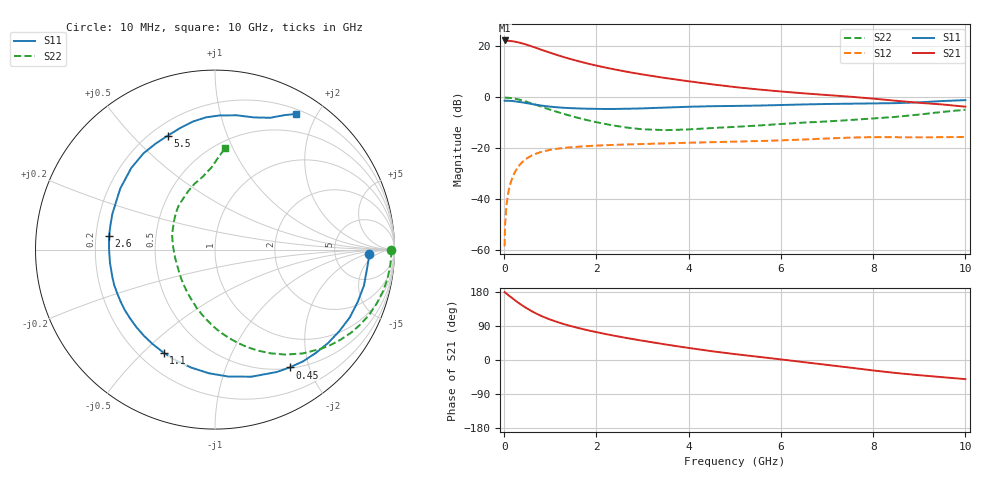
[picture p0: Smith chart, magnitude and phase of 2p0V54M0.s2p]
! (c) 2009  Infineon Technologies AG, Munich
! Infineon Technologies  Discrete & RF Semiconductors
! BFP420
! VCE =  0.5 V,  IC =  4.0 mA
! Common Emitter S-Parameters:  Nov 2009
# GHz  S  MA  R  50
!  f  S11  S21  S12  S22
! GHz  MAG  ANG  MAG  ANG  MAG  ANG  MAG  ANG
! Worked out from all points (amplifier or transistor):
!   46 points, 10 MHz to 10 GHz, reference 50 ohm
!   highest |S21| = 22.3 dB at 10 MHz (marker M1)
!   |S21| within 3 dB of that: start of sweep to 707 MHz
!   unconditionally stable (mu >= 1): 3.206 GHz to end of sweep
!   at 300 MHz: K = 0.09, MSG = 24.5 dB, |S12| = -27.4 dB
!   at 1.7 GHz: K = 0.56, MSG = 16.5 dB, |S12| = -19.3 dB
!   at 10 GHz: K = 1.11, MAG = 3.9 dB, |S12| = -15.6 dB
!   lowest NFmin = 0.61 dB at 900 MHz
!   S11 on the Smith chart (normalised r, x): 10 MHz: 12, -2; 450 MHz: 0.51, -1.70; 1.1 GHz: 0.30, -0.58; 2.6 GHz: 0.25, +0.06; 5.5 GHz: 0.26, +0.63; 10 GHz: 0.26, +1.73
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0.01  0.856 -1.6  13.02 179.3  0.0012 82.1  0.979 -0.2
0.02  0.8588 -2.7  12.73 178.4  0.0032 91.5  0.9823 -1.8
0.05  0.8543 -6.5  12.77 175.2  0.0076 87.6  0.9809 -4.7
0.1  0.8538 -13.6  12.79 170.4  0.0152 82.8  0.975 -9.4
0.15  0.8469 -20.2  12.66 165.6  0.0224 79.2  0.9644 -14.0
0.25  0.8284 -33.3  12.21 156.2  0.0363 71.8  0.9323 -23.0
0.35  0.8043 -45.8  11.67 147.6  0.0487 65.0  0.8878 -31.5
0.45  0.7775 -57.6  11.01 139.5  0.0593 58.9  0.8373 -39.2
0.6  0.7366 -74.0  9.954 128.6  0.0722 51.1  0.7575 -49.8
0.8  0.6896 -92.9  8.605 116.6  0.0845 42.7  0.6567 -61.7
0.9  0.6706 -101.4  8.014 111.4  0.089 39.3  0.6119 -66.9
1.1  0.6418 -116.5  6.973 102.4  0.0963 33.6  0.5339 -76.4
1.4  0.615 -135.6  5.757 91.0  0.1036 27.2  0.4425 -89.0
1.7  0.6003 -151.3  4.868 81.7  0.1087 22.5  0.375 -100.2
2.2  0.5899 -172.7  3.824 68.5  0.1148 16.7  0.2986 -118.0
2.6  0.5949 172.8  3.245 59.2  0.1183 12.9  0.2594 -133.2
3.5  0.6281 147.2  2.384 41.0  0.1246 6.7  0.2268 -167.3
4.5  0.6683 126.6  1.798 23.2  0.1315 1.0  0.2491 163.4
5.5  0.6872 112.6  1.427 8.6  0.1383 -3.3  0.2787 144.9
7  0.7386 93.9  1.106 -12.9  0.1553 -11.2  0.3354 121.9
8.5  0.7677 73.6  0.853 -34.4  0.1645 -23.9  0.4135 99.2
10  0.8796 59.2  0.654 -50.5  0.1666 -31.6  0.5689 84.2
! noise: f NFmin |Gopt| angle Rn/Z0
0.9  0.61  0.27  32  0.16
1.8  1.03  0.14  83  0.13
2.4  1.11  0.17  110  0.14
3  1.23  0.2  153  0.11
4  1.42  0.31  -151  0.11
5  1.77  0.38  -123  0.23
6  2.35  0.47  -104  0.33
